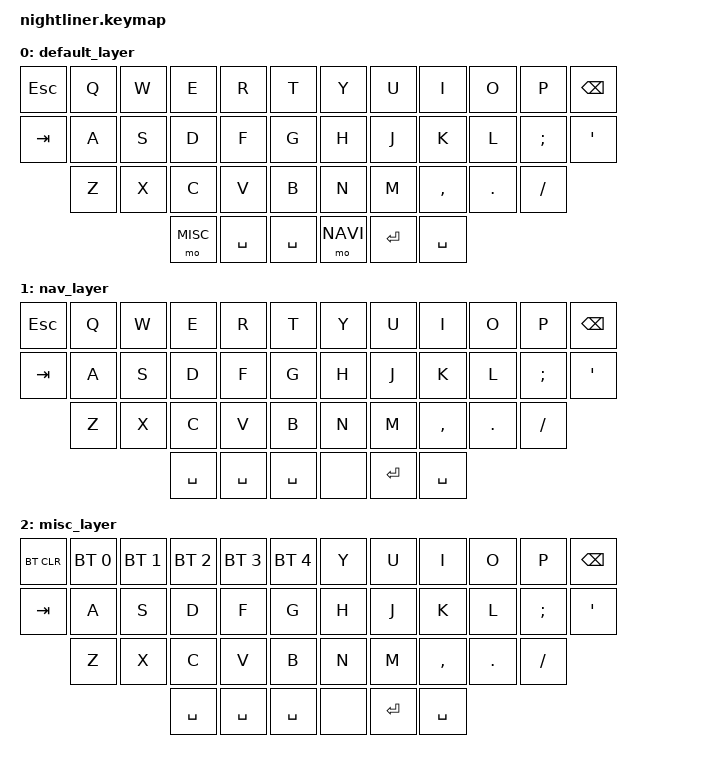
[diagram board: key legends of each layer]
#include <behaviors.dtsi>
#include <dt-bindings/zmk/keys.h>
#include <dt-bindings/zmk/bt.h>

#define DEFAULT 0
#define NAVI    1
#define MISC    2

/ {
    keymap {
        compatible = "zmk,keymap";

        default_layer {
            bindings = <
                &kp ESC   &kp Q     &kp W    &kp E      &kp R      &kp T             &kp Y    &kp U       &kp I     &kp O    &kp P    &kp BSPC
                &kp TAB   &kp A     &kp S    &kp D      &kp F      &kp G             &kp H    &kp J       &kp K     &kp L    &kp SEMI &kp SQT
                          &kp Z     &kp X    &kp C      &kp V      &kp B             &kp N    &kp M       &kp COMMA &kp DOT  &kp FSLH
                                             &mo MISC   &kp SPACE  &kp SPACE         &mo NAVI &kp RETURN  &kp SPACE 
            >;
        };

        nav_layer {
            bindings = <
                &kp ESC   &kp Q     &kp W    &kp E      &kp R      &kp T             &kp Y    &kp U       &kp I     &kp O    &kp P    &kp BSPC
                &kp TAB   &kp A     &kp S    &kp D      &kp F      &kp G             &kp H    &kp J       &kp K     &kp L    &kp SEMI &kp SQT
                          &kp Z     &kp X    &kp C      &kp V      &kp B             &kp N    &kp M       &kp COMMA &kp DOT  &kp FSLH
                                             &kp SPACE  &kp SPACE  &kp SPACE         &none    &kp RETURN  &kp SPACE
            >;
        };

        misc_layer {
            bindings = <
                &bt BT_CLR &bt BT_SEL 0 &bt BT_SEL 1 &bt BT_SEL 2 &bt BT_SEL 3 &bt BT_SEL 4      &kp Y    &kp U       &kp I     &kp O    &kp P    &kp BSPC
                &kp TAB   &kp A     &kp S    &kp D      &kp F      &kp G                    &kp H    &kp J       &kp K     &kp L    &kp SEMI &kp SQT
                          &kp Z     &kp X    &kp C      &kp V      &kp B                    &kp N    &kp M       &kp COMMA &kp DOT  &kp FSLH
                                             &kp SPACE  &kp SPACE  &kp SPACE                &none    &kp RETURN  &kp SPACE
            >;
        };
    };
};
